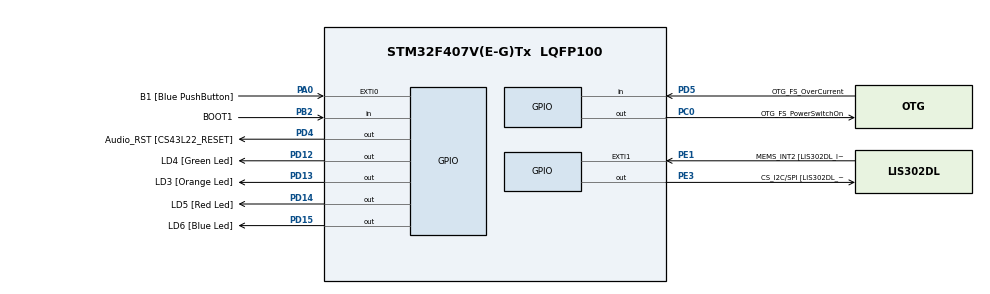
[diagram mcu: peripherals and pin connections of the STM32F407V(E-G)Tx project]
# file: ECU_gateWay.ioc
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Mcu.Family=STM32F4
Mcu.Name=STM32F407V(E-G)Tx
Mcu.Package=LQFP100
NVIC.PriorityGroup=NVIC_PRIORITYGROUP_0
PA0-WKUP.GPIO_Label=B1 [Blue PushButton]
PA0-WKUP.Signal=GPXTI0
PA10.GPIO_Label=OTG_FS_ID
PA10.GPIO_Mode=GPIO_MODE_AF_PP
PA10.GPIO_PuPd=GPIO_NOPULL
PA10.GPIO_Speed=GPIO_SPEED_FREQ_LOW
PA10.Signal=USB_OTG_FS_ID
PA11.GPIO_Label=OTG_FS_DM
PA11.GPIO_Mode=GPIO_MODE_AF_PP
PA11.GPIO_PuPd=GPIO_NOPULL
PA11.GPIO_Speed=GPIO_SPEED_FREQ_LOW
PA11.Signal=USB_OTG_FS_DM
PA12.GPIO_Label=OTG_FS_DP
PA12.GPIO_Mode=GPIO_MODE_AF_PP
PA12.GPIO_PuPd=GPIO_NOPULL
PA12.GPIO_Speed=GPIO_SPEED_FREQ_LOW
PA12.Signal=USB_OTG_FS_DP
PA13.GPIO_Label=SWDIO
PA13.Signal=SYS_JTMS-SWDIO
PA14.GPIO_Label=SWCLK
PA14.Signal=SYS_JTCK-SWCLK
PA4.GPIO_Label=I2S3_WS [CS43L22_LRCK]
PA4.GPIO_Mode=GPIO_MODE_AF_PP
PA4.GPIO_PuPd=GPIO_NOPULL
PA4.GPIO_Speed=GPIO_SPEED_FREQ_LOW
PA4.Signal=I2S3_WS
PA5.GPIO_Label=SPI1_SCK [LIS302DL_SCL/SPC]
PA5.GPIO_Mode=GPIO_MODE_AF_PP
PA5.GPIO_PuPd=GPIO_NOPULL
PA5.GPIO_Speed=GPIO_SPEED_FREQ_LOW
PA5.Signal=SPI1_SCK
PA6.GPIO_Label=SPI1_MISO [LIS302DL_SDO]
PA6.GPIO_Mode=GPIO_MODE_AF_PP
PA6.GPIO_PuPd=GPIO_NOPULL
PA6.GPIO_Speed=GPIO_SPEED_FREQ_LOW
PA6.Signal=SPI1_MISO
PA7.GPIO_Label=SPI1_MOSI [LIS302DL_SDA/SDI/SDO]
PA7.GPIO_Mode=GPIO_MODE_AF_PP
PA7.GPIO_PuPd=GPIO_NOPULL
PA7.GPIO_Speed=GPIO_SPEED_FREQ_LOW
PA7.Signal=SPI1_MOSI
PA9.GPIO_Label=VBUS_FS
PA9.GPIO_Mode=GPIO_MODE_INPUT
PA9.GPIO_PuPd=GPIO_NOPULL
PA9.Signal=USB_OTG_FS_VBUS
PB10.GPIO_Label=CLK_IN [MP45DT02_CLK]
PB10.GPIO_Mode=GPIO_MODE_AF_PP
PB10.GPIO_PuPd=GPIO_NOPULL
PB10.GPIO_Speed=GPIO_SPEED_FREQ_LOW
PB10.Signal=I2S2_CK
PB2.GPIO_Label=BOOT1
PB2.GPIO_Mode=GPIO_MODE_INPUT
PB2.GPIO_PuPd=GPIO_NOPULL
PB2.Signal=GPIO_Input
PB3.GPIO_Label=SWO
PB3.Signal=SYS_JTDO-SWO
PB6.GPIO_Label=Audio_SCL [CS43L22_SCL]
PB6.GPIO_Mode=GPIO_MODE_AF_OD
PB6.GPIO_PuPd=GPIO_NOPULL
PB6.GPIO_Speed=GPIO_SPEED_FREQ_LOW
PB6.Signal=I2C1_SCL
PB9.GPIO_Label=Audio_SDA [CS43L22_SDA]
PB9.GPIO_Mode=GPIO_MODE_AF_OD
PB9.GPIO_PuPd=GPIO_NOPULL
PB9.GPIO_Speed=GPIO_SPEED_FREQ_LOW
PB9.Signal=I2C1_SDA
PC0.GPIO_Label=OTG_FS_PowerSwitchOn
PC0.GPIO_PuPd=GPIO_NOPULL
PC0.GPIO_Speed=GPIO_SPEED_FREQ_LOW
PC0.PinState=GPIO_PIN_SET
PC0.Signal=GPIO_Output
PC10.GPIO_Label=I2S3_SCK [CS43L22_SCLK]
PC10.GPIO_Mode=GPIO_MODE_AF_PP
PC10.GPIO_PuPd=GPIO_NOPULL
PC10.GPIO_Speed=GPIO_SPEED_FREQ_LOW
PC10.Signal=I2S3_CK
PC12.GPIO_Label=I2S3_SD [CS43L22_SDIN]
PC12.GPIO_Mode=GPIO_MODE_AF_PP
PC12.GPIO_PuPd=GPIO_NOPULL
PC12.GPIO_Speed=GPIO_SPEED_FREQ_LOW
PC12.Signal=I2S3_SD
PC14-OSC32_IN.GPIO_Label=PC14-OSC32_IN
PC14-OSC32_IN.Signal=RCC_OSC32_IN
PC15-OSC32_OUT.GPIO_Label=PC15-OSC32_OUT
PC15-OSC32_OUT.Signal=RCC_OSC32_OUT
PC3.GPIO_Label=PDM_OUT [MP45DT02_DOUT]
PC3.GPIO_Mode=GPIO_MODE_AF_PP
PC3.GPIO_PuPd=GPIO_NOPULL
PC3.GPIO_Speed=GPIO_SPEED_FREQ_LOW
PC3.Signal=I2S2_SD
PC7.GPIO_Label=I2S3_MCK [CS43L22_MCLK]
PC7.GPIO_Mode=GPIO_MODE_AF_PP
PC7.GPIO_PuPd=GPIO_NOPULL
PC7.GPIO_Speed=GPIO_SPEED_FREQ_LOW
PC7.Signal=I2S3_MCK
PD12.GPIO_Label=LD4 [Green Led]
PD12.GPIO_PuPd=GPIO_NOPULL
PD12.GPIO_Speed=GPIO_SPEED_FREQ_LOW
PD12.Signal=GPIO_Output
PD13.GPIO_Label=LD3 [Orange Led]
PD13.GPIO_PuPd=GPIO_NOPULL
PD13.GPIO_Speed=GPIO_SPEED_FREQ_LOW
PD13.Signal=GPIO_Output
PD14.GPIO_Label=LD5 [Red Led]
PD14.GPIO_PuPd=GPIO_NOPULL
PD14.GPIO_Speed=GPIO_SPEED_FREQ_LOW
PD14.Signal=GPIO_Output
PD15.GPIO_Label=LD6 [Blue Led]
PD15.GPIO_PuPd=GPIO_NOPULL
PD15.GPIO_Speed=GPIO_SPEED_FREQ_LOW
PD15.Signal=GPIO_Output
PD4.GPIO_Label=Audio_RST [CS43L22_RESET]
PD4.GPIO_PuPd=GPIO_NOPULL
PD4.GPIO_Speed=GPIO_SPEED_FREQ_LOW
PD4.Signal=GPIO_Output
PD5.GPIO_Label=OTG_FS_OverCurrent
PD5.GPIO_Mode=GPIO_MODE_INPUT
PD5.GPIO_PuPd=GPIO_NOPULL
PD5.Signal=GPIO_Input
PE1.GPIO_Label=MEMS_INT2 [LIS302DL_INT2]
PE1.GPIO_ModeDefaultEXTI=GPIO_MODE_EVT_RISING
PE1.GPIO_PuPd=GPIO_NOPULL
PE1.Signal=GPXTI1
PE3.GPIO_Label=CS_I2C/SPI [LIS302DL_CS_I2C/SPI]
PE3.GPIO_PuPd=GPIO_NOPULL
PE3.GPIO_Speed=GPIO_SPEED_FREQ_LOW
PE3.Signal=GPIO_Output
PH0-OSC_IN.GPIO_Label=PH0-OSC_IN
PH0-OSC_IN.Signal=RCC_OSC_IN
PH1-OSC_OUT.GPIO_Label=PH1-OSC_OUT
PH1-OSC_OUT.Signal=RCC_OSC_OUT
ProjectManager.HeapSize=0x200
ProjectManager.StackSize=0x400
ProjectManager.TargetToolchain=STM32CubeIDE
RCC.48MHZClocksFreq_Value=48000000
RCC.AHBFreq_Value=168000000
RCC.APB1CLKDivider=RCC_HCLK_DIV4
RCC.APB1Freq_Value=42000000
RCC.APB1TimFreq_Value=84000000
RCC.APB2CLKDivider=RCC_HCLK_DIV2
RCC.APB2Freq_Value=84000000
RCC.APB2TimFreq_Value=168000000
RCC.CortexFreq_Value=168000000
RCC.HCLKFreq_Value=168000000
RCC.HSE_VALUE=8000000
RCC.HSI_VALUE=16000000
RCC.LSE_VALUE=32768
RCC.PLLM=8
RCC.PLLN=168
RCC.PLLQ=7
RCC.SYSCLKFreq_VALUE=168000000
RCC.SYSCLKSource=RCC_SYSCLKSOURCE_PLLCLK
RCC.VCOOutputFreq_Value=336000000
board=STM32F407G-DISC1

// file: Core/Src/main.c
/* USER CODE BEGIN Header */
/**
  ******************************************************************************
  * @file           : main.c
  * @brief          : STM32F407 Gateway ECU Main Application
  * @author         : Automotive Firmware Engineer
  * @date           : August 2025
  * @version        : 1.0
  ******************************************************************************
  * @attention
  *
  * Copyright (c) 2025 STMicroelectronics.
  * All rights reserved.
  *
  * This software is licensed under terms that can be found in the LICENSE file
  * in the root directory of this software component.
  * If no LICENSE file comes with this software, it is provided AS-IS.
  *
  ******************************************************************************
  */
/* USER CODE END Header */
#include "main.h"

/* USER CODE BEGIN Includes */
#include "system_config.h"
#include "can_drv.h"
#include "uart_drv.h"
#include "pdu_router.h"
#include <stdio.h>
/* USER CODE END Includes */

/* USER CODE BEGIN PD */
#define CAN_BAUDRATE            500000      /* 500 kbit/s */
#define UART_BAUDRATE           115200      /* 115200 baud */
#define MAIN_LOOP_DELAY_MS      1           /* Main loop delay */
#define STATS_PRINT_INTERVAL_MS 10000       /* Statistics print interval */
/* USER CODE END PD */

/* USER CODE BEGIN PV */
static uint32_t last_stats_time = 0;
/* USER CODE END PV */

void SystemClock_Config(void);
static void MX_GPIO_Init(void);
/* USER CODE BEGIN PFP */
static void Gateway_Init(void);
static void Gateway_ProcessCanMessages(void);
static void Gateway_PrintStatistics(void);
/* USER CODE END PFP */

int main(void)
{

  /* MCU Configuration--------------------------------------------------------*/

  /* Reset of all peripherals, Initializes the Flash interface and the Systick. */
  HAL_Init();

  /* Configure the system clock */
  SystemClock_Config();

  /* Initialize all configured peripherals */
  MX_GPIO_Init();
  /* USER CODE BEGIN 2 */

  /* Initialize Gateway ECU components */
  Gateway_Init();

  /* USER CODE END 2 */

  /* Infinite loop */
  /* USER CODE BEGIN WHILE */
  while (1)
  {
    /* Process CAN messages */
    Gateway_ProcessCanMessages();

    /* Router polling for error handling */
    Router_Poll();

    /* Print statistics periodically */
    Gateway_PrintStatistics();

    /* Small delay to prevent excessive CPU usage */
    HAL_Delay(MAIN_LOOP_DELAY_MS);

    /* USER CODE END WHILE */

  }
}

void SystemClock_Config(void)
{
  /* This function is called by HAL_Init() but we use our own MCAL implementation */
  /* The actual clock configuration is done in SystemConfig_Init() */
}

static void MX_GPIO_Init(void)
{

  /* GPIO initialization is handled by our MCAL system_config module */
  /* This function is kept for HAL compatibility but functionality moved to GPIO_Config() */

}

/* USER CODE BEGIN 4 */

/**
 * @brief  Initialize Gateway ECU components
 * @param  None
 * @retval None
 */
static void Gateway_Init(void)
{
  /* Initialize system configuration (clocks, GPIO, NVIC) */
  SystemConfig_Init();

  /* Initialize CAN driver */
  if (!CAN_Init(CAN_BAUDRATE)) {
    Error_Handler();
  }

  /* Initialize UART driver */
  if (!UART_Init(UART_BAUDRATE)) {
    Error_Handler();
  }

  /* Initialize PDU Router */
  Router_Init();

  /* Record initialization time */
  last_stats_time = HAL_GetTick();
}

/**
 * @brief  Process incoming CAN messages
 * @param  None
 * @retval None
 */
static void Gateway_ProcessCanMessages(void)
{
  CanFrame_t frame;

  /* Process all available CAN frames */
  while (CAN_Receive(&frame)) {
    Router_ProcessCanFrame(&frame);
  }
}

/**
 * @brief  Print statistics periodically
 * @param  None
 * @retval None
 */
static void Gateway_PrintStatistics(void)
{
  uint32_t current_time = HAL_GetTick();

  /* Check if it's time to print statistics */
  if ((current_time - last_stats_time) >= STATS_PRINT_INTERVAL_MS) {
    RouterStats_t stats;
    Router_GetStatistics(&stats);

    /* Format and send statistics */
    char stats_msg[128];
    sprintf(stats_msg, "STATS,Processed:%lu,Routed:%lu,Dropped:%lu,CANErr:%lu,UARTErr:%lu\r\n",
            stats.frames_processed, stats.frames_routed, stats.frames_dropped,
            stats.can_errors, stats.uart_errors);

    UART_Write(stats_msg);

    last_stats_time = current_time;
  }
}

/* USER CODE END 4 */

void Error_Handler(void)
{
  __disable_irq();
  while (1)
  {
  }
}
